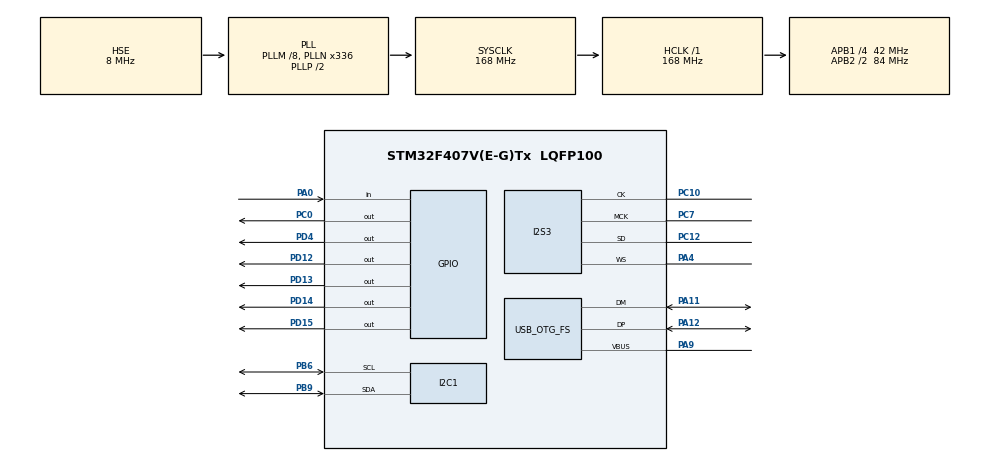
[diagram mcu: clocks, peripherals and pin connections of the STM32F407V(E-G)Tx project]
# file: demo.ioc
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Dma.Request0=SPI3_TX
Dma.SPI3_TX.0.Direction=DMA_MEMORY_TO_PERIPH
Dma.SPI3_TX.0.FIFOMode=DMA_FIFOMODE_ENABLE
Dma.SPI3_TX.0.FIFOThreshold=DMA_FIFO_THRESHOLD_FULL
Dma.SPI3_TX.0.Instance=DMA1_Stream5
Dma.SPI3_TX.0.MemBurst=DMA_MBURST_SINGLE
Dma.SPI3_TX.0.MemDataAlignment=DMA_MDATAALIGN_HALFWORD
Dma.SPI3_TX.0.MemInc=DMA_MINC_ENABLE
Dma.SPI3_TX.0.Mode=DMA_CIRCULAR
Dma.SPI3_TX.0.PeriphBurst=DMA_PBURST_SINGLE
Dma.SPI3_TX.0.PeriphDataAlignment=DMA_PDATAALIGN_HALFWORD
Dma.SPI3_TX.0.PeriphInc=DMA_PINC_DISABLE
Dma.SPI3_TX.0.Priority=DMA_PRIORITY_LOW
I2S3.AudioFreq=I2S_AUDIOFREQ_44K
I2S3.ErrorAudioFreq=0.24 %
I2S3.FullDuplexMode=I2S_FULLDUPLEXMODE_DISABLE
I2S3.Instance=SPI$Index
I2S3.RealAudioFreq=44.108 KHz
I2S3.VirtualMode=I2S_MODE_MASTER
Mcu.Family=STM32F4
Mcu.Name=STM32F407V(E-G)Tx
Mcu.Package=LQFP100
NVIC.DMA1_Stream5_IRQn=true\:0\:0\:false\:false\:true\:false\:true\:true
NVIC.OTG_FS_IRQn=true\:0\:0\:false\:false\:true\:false\:true\:true
NVIC.PriorityGroup=NVIC_PRIORITYGROUP_0
PA0-WKUP.Signal=GPIO_Input
PA11.Mode=Host_Only
PA11.Signal=USB_OTG_FS_DM
PA12.Mode=Host_Only
PA12.Signal=USB_OTG_FS_DP
PA4.Mode=Half_Duplex_Master
PA4.Signal=I2S3_WS
PA9.Mode=Activate_VBUS
PA9.Signal=USB_OTG_FS_VBUS
PB6.Mode=I2C
PB6.Signal=I2C1_SCL
PB9.Mode=I2C
PB9.Signal=I2C1_SDA
PC0.Signal=GPIO_Output
PC10.Mode=Half_Duplex_Master
PC10.Signal=I2S3_CK
PC12.Mode=Half_Duplex_Master
PC12.Signal=I2S3_SD
PC7.Mode=Master_Clock_Activated
PC7.Signal=I2S3_MCK
PD12.Signal=GPIO_Output
PD13.Signal=GPIO_Output
PD14.Signal=GPIO_Output
PD15.Signal=GPIO_Output
PD4.Signal=GPIO_Output
PH0-OSC_IN.Mode=HSE-External-Oscillator
PH0-OSC_IN.Signal=RCC_OSC_IN
PH1-OSC_OUT.Mode=HSE-External-Oscillator
PH1-OSC_OUT.Signal=RCC_OSC_OUT
ProjectManager.HeapSize=0x2000
ProjectManager.StackSize=0x2000
ProjectManager.TargetToolchain=STM32CubeIDE
RCC.48MHZClocksFreq_Value=48000000
RCC.AHBFreq_Value=168000000
RCC.APB1CLKDivider=RCC_HCLK_DIV4
RCC.APB1Freq_Value=42000000
RCC.APB1TimFreq_Value=84000000
RCC.APB2CLKDivider=RCC_HCLK_DIV2
RCC.APB2Freq_Value=84000000
RCC.APB2TimFreq_Value=168000000
RCC.CortexFreq_Value=168000000
RCC.HCLKFreq_Value=168000000
RCC.HSE_VALUE=8000000
RCC.HSI_VALUE=16000000
RCC.LSE_VALUE=32768
RCC.PLLI2SN=271
RCC.PLLI2SR=6
RCC.PLLM=8
RCC.PLLN=336
RCC.PLLQ=7
RCC.SYSCLKFreq_VALUE=168000000
RCC.SYSCLKSource=RCC_SYSCLKSOURCE_PLLCLK
RCC.VCOOutputFreq_Value=336000000
USB_HOST.USBH_HandleTypeDef-MSC_FS=hUsbHostFS
USB_HOST.VirtualModeFS=Msc
USB_OTG_FS.VirtualMode=Host_Only
USB_OTG_FS.phy_itface=HCD_PHY_EMBEDDED
VP_FATFS_VS_USB.Mode=USB
VP_USB_HOST_VS_USB_HOST_MSC_FS.Mode=MSC_FS
board=STM32F407G-DISC1

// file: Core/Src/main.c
/* USER CODE BEGIN Header */
/**
  ******************************************************************************
  * @file           : main.c
  * @brief          : Main program body
  ******************************************************************************
  * @attention
  *
  * <h2><center>&copy; Copyright (c) 2020 STMicroelectronics.
  * All rights reserved.</center></h2>
  *
  * This software component is licensed by ST under Ultimate Liberty license
  * SLA0044, the "License"; You may not use this file except in compliance with
  * the License. You may obtain a copy of the License at:
  *                             www.st.com/SLA0044
  *
  ******************************************************************************
  */
/* USER CODE END Header */

#include "main.h"
#include "fatfs.h"
#include "usb_host.h"

/* USER CODE BEGIN Includes */
#include "audioI2S.h"
#include "MY_CS43L22.h"
#include "wav_player.h"
/* USER CODE END Includes */

/* USER CODE BEGIN PTD */
extern ApplicationTypeDef Appli_state;
/* USER CODE END PTD */

I2C_HandleTypeDef hi2c1;

I2S_HandleTypeDef hi2s3;
DMA_HandleTypeDef hdma_spi3_tx;

/* USER CODE BEGIN PV */
#define WAV_FILE1 "/Song1.wav"
#define WAV_FILE2 "/Song2.wav"
#define WAV_FILE3 "/Song3.wav"
/* USER CODE END PV */

void SystemClock_Config(void);
static void MX_GPIO_Init(void);
static void MX_DMA_Init(void);
static void MX_I2C1_Init(void);
static void MX_I2S3_Init(void);
void MX_USB_HOST_Process(void);

int main(void)
{

  /* MCU Configuration--------------------------------------------------------*/

  /* Reset of all peripherals, Initializes the Flash interface and the Systick. */
  HAL_Init();

  /* Configure the system clock */
  SystemClock_Config();

  /* Initialize all configured peripherals */
  MX_GPIO_Init();
  MX_DMA_Init();
  MX_I2C1_Init();
  MX_I2S3_Init();
  MX_FATFS_Init();
  MX_USB_HOST_Init();
  /* USER CODE BEGIN 2 */
  CS43_Init(hi2c1, MODE_I2S);
  CS43_SetVolume(230);//0-255
  CS43_Enable_RightLeft(CS43_RIGHT_LEFT);

  audioI2S_setHandle(&hi2s3);

  bool isSdCardMounted=0;
  bool pauseResumeToggle=0;
  /* USER CODE END 2 */

  /* Infinite loop */
  while (1)
  {
    MX_USB_HOST_Process();

    /* USER CODE BEGIN 3 */
    if(Appli_state == APPLICATION_START)
    {
      HAL_GPIO_WritePin(GPIOD, GPIO_PIN_12, GPIO_PIN_SET);
    }
    else if(Appli_state == APPLICATION_DISCONNECT)
    {
      HAL_GPIO_WritePin(GPIOD, GPIO_PIN_12, GPIO_PIN_RESET);
      f_mount(NULL, (TCHAR const*)"", 0);
      isSdCardMounted = 0;
    }

    if(Appli_state == APPLICATION_READY)
    {
      if(!isSdCardMounted)
      {
        f_mount(&USBHFatFS, (const TCHAR*)USBHPath, 0);
        isSdCardMounted = 1;
      }
      if(HAL_GPIO_ReadPin(GPIOA, GPIO_PIN_0))
      {
        HAL_GPIO_WritePin(GPIOD, GPIO_PIN_13, GPIO_PIN_SET);
        HAL_Delay(1000);

        // Play the first song
        wavPlayer_fileSelect(WAV_FILE1);
        wavPlayer_play();

        while(!wavPlayer_isFinished())
        {
          wavPlayer_process();
          if(HAL_GPIO_ReadPin(GPIOA, GPIO_PIN_0))
          {
            pauseResumeToggle^=1;
            if(pauseResumeToggle)
            {
              HAL_GPIO_WritePin(GPIOD, GPIO_PIN_14, GPIO_PIN_SET);
              wavPlayer_pause();
              HAL_Delay(200);
            }
            else
            {
              HAL_GPIO_WritePin(GPIOD, GPIO_PIN_14, GPIO_PIN_RESET);
              HAL_Delay(1000);
              if(HAL_GPIO_ReadPin(GPIOA, GPIO_PIN_0))
              {
                wavPlayer_stop();
              }
              else
              {
                wavPlayer_resume();
              }
            }
          }
        }

        // Play the second song
        wavPlayer_fileSelect(WAV_FILE2);
        wavPlayer_play();

        while(!wavPlayer_isFinished())
        {
          wavPlayer_process();
          if(HAL_GPIO_ReadPin(GPIOA, GPIO_PIN_0))
          {
            pauseResumeToggle^=1;
            if(pauseResumeToggle)
            {
              HAL_GPIO_WritePin(GPIOD, GPIO_PIN_14, GPIO_PIN_SET);
              wavPlayer_pause();
              HAL_Delay(200);
            }
            else
            {
              HAL_GPIO_WritePin(GPIOD, GPIO_PIN_14, GPIO_PIN_RESET);
              HAL_Delay(1000);
              if(HAL_GPIO_ReadPin(GPIOA, GPIO_PIN_0))
              {
                wavPlayer_stop();
              }
              else
              {
                wavPlayer_resume();
              }
            }
          }
        }

        // Play the third song
       wavPlayer_fileSelect(WAV_FILE3);
        wavPlayer_play();

        while(!wavPlayer_isFinished())
        {
          wavPlayer_process();
          if(HAL_GPIO_ReadPin(GPIOA, GPIO_PIN_0))
          {
            pauseResumeToggle^=1;
            if(pauseResumeToggle)
            {
              HAL_GPIO_WritePin(GPIOD, GPIO_PIN_14, GPIO_PIN_SET);
              wavPlayer_pause();
              HAL_Delay(200);
            }
            else
            {
              HAL_GPIO_WritePin(GPIOD, GPIO_PIN_14, GPIO_PIN_RESET);
              HAL_Delay(1000);
              if(HAL_GPIO_ReadPin(GPIOA, GPIO_PIN_0))
              {
                wavPlayer_stop();
              }
              else
              {
                wavPlayer_resume();
              }
            }
          }
        }

        HAL_GPIO_WritePin(GPIOD, GPIO_PIN_13, GPIO_PIN_RESET);
        HAL_Delay(100);
      }
    }
  }
  /* USER CODE END 3 */
}

  /* USER CODE END 3 */

void SystemClock_Config(void)
{
  RCC_OscInitTypeDef RCC_OscInitStruct = {0};
  RCC_ClkInitTypeDef RCC_ClkInitStruct = {0};
  RCC_PeriphCLKInitTypeDef PeriphClkInitStruct = {0};

  /** Configure the main internal regulator output voltage
  */
  __HAL_RCC_PWR_CLK_ENABLE();
  __HAL_PWR_VOLTAGESCALING_CONFIG(PWR_REGULATOR_VOLTAGE_SCALE1);
  /** Initializes the CPU, AHB and APB busses clocks
  */
  RCC_OscInitStruct.OscillatorType = RCC_OSCILLATORTYPE_HSE;
  RCC_OscInitStruct.HSEState = RCC_HSE_ON;
  RCC_OscInitStruct.PLL.PLLState = RCC_PLL_ON;
  RCC_OscInitStruct.PLL.PLLSource = RCC_PLLSOURCE_HSE;
  RCC_OscInitStruct.PLL.PLLM = 8;
  RCC_OscInitStruct.PLL.PLLN = 336;
  RCC_OscInitStruct.PLL.PLLP = RCC_PLLP_DIV2;
  RCC_OscInitStruct.PLL.PLLQ = 7;
  if (HAL_RCC_OscConfig(&RCC_OscInitStruct) != HAL_OK)
  {
    Error_Handler();
  }
  /** Initializes the CPU, AHB and APB busses clocks
  */
  RCC_ClkInitStruct.ClockType = RCC_CLOCKTYPE_HCLK|RCC_CLOCKTYPE_SYSCLK
                              |RCC_CLOCKTYPE_PCLK1|RCC_CLOCKTYPE_PCLK2;
  RCC_ClkInitStruct.SYSCLKSource = RCC_SYSCLKSOURCE_PLLCLK;
  RCC_ClkInitStruct.AHBCLKDivider = RCC_SYSCLK_DIV1;
  RCC_ClkInitStruct.APB1CLKDivider = RCC_HCLK_DIV4;
  RCC_ClkInitStruct.APB2CLKDivider = RCC_HCLK_DIV2;

  if (HAL_RCC_ClockConfig(&RCC_ClkInitStruct, FLASH_LATENCY_5) != HAL_OK)
  {
    Error_Handler();
  }
  PeriphClkInitStruct.PeriphClockSelection = RCC_PERIPHCLK_I2S;
  PeriphClkInitStruct.PLLI2S.PLLI2SN = 271;
  PeriphClkInitStruct.PLLI2S.PLLI2SR = 6;
  if (HAL_RCCEx_PeriphCLKConfig(&PeriphClkInitStruct) != HAL_OK)
  {
    Error_Handler();
  }
}

static void MX_I2C1_Init(void)
{

  hi2c1.Instance = I2C1;
  hi2c1.Init.ClockSpeed = 100000;
  hi2c1.Init.DutyCycle = I2C_DUTYCYCLE_2;
  hi2c1.Init.OwnAddress1 = 0;
  hi2c1.Init.AddressingMode = I2C_ADDRESSINGMODE_7BIT;
  hi2c1.Init.DualAddressMode = I2C_DUALADDRESS_DISABLE;
  hi2c1.Init.OwnAddress2 = 0;
  hi2c1.Init.GeneralCallMode = I2C_GENERALCALL_DISABLE;
  hi2c1.Init.NoStretchMode = I2C_NOSTRETCH_DISABLE;
  if (HAL_I2C_Init(&hi2c1) != HAL_OK)
  {
    Error_Handler();
  }

}

static void MX_I2S3_Init(void)
{

  hi2s3.Instance = SPI3;
  hi2s3.Init.Mode = I2S_MODE_MASTER_TX;
  hi2s3.Init.Standard = I2S_STANDARD_PHILIPS;
  hi2s3.Init.DataFormat = I2S_DATAFORMAT_16B;
  hi2s3.Init.MCLKOutput = I2S_MCLKOUTPUT_ENABLE;
  hi2s3.Init.AudioFreq = I2S_AUDIOFREQ_44K;
  hi2s3.Init.CPOL = I2S_CPOL_LOW;
  hi2s3.Init.ClockSource = I2S_CLOCK_PLL;
  hi2s3.Init.FullDuplexMode = I2S_FULLDUPLEXMODE_DISABLE;
  if (HAL_I2S_Init(&hi2s3) != HAL_OK)
  {
    Error_Handler();
  }

}

static void MX_DMA_Init(void)
{

  /* DMA controller clock enable */
  __HAL_RCC_DMA1_CLK_ENABLE();

  /* DMA interrupt init */
  /* DMA1_Stream5_IRQn interrupt configuration */
  HAL_NVIC_SetPriority(DMA1_Stream5_IRQn, 0, 0);
  HAL_NVIC_EnableIRQ(DMA1_Stream5_IRQn);

}

static void MX_GPIO_Init(void)
{
  GPIO_InitTypeDef GPIO_InitStruct = {0};

  /* GPIO Ports Clock Enable */
  __HAL_RCC_GPIOH_CLK_ENABLE();
  __HAL_RCC_GPIOC_CLK_ENABLE();
  __HAL_RCC_GPIOA_CLK_ENABLE();
  __HAL_RCC_GPIOD_CLK_ENABLE();
  __HAL_RCC_GPIOB_CLK_ENABLE();

  /*Configure GPIO pin Output Level */
  HAL_GPIO_WritePin(GPIOC, GPIO_PIN_0, GPIO_PIN_RESET);

  /*Configure GPIO pin Output Level */
  HAL_GPIO_WritePin(GPIOD, GPIO_PIN_12|GPIO_PIN_13|GPIO_PIN_14|GPIO_PIN_15
                          |GPIO_PIN_4, GPIO_PIN_RESET);

  /*Configure GPIO pin : PC0 */
  GPIO_InitStruct.Pin = GPIO_PIN_0;
  GPIO_InitStruct.Mode = GPIO_MODE_OUTPUT_PP;
  GPIO_InitStruct.Pull = GPIO_NOPULL;
  GPIO_InitStruct.Speed = GPIO_SPEED_FREQ_LOW;
  HAL_GPIO_Init(GPIOC, &GPIO_InitStruct);

  /*Configure GPIO pin : PA0 */
  GPIO_InitStruct.Pin = GPIO_PIN_0;
  GPIO_InitStruct.Mode = GPIO_MODE_INPUT;
  GPIO_InitStruct.Pull = GPIO_NOPULL;
  HAL_GPIO_Init(GPIOA, &GPIO_InitStruct);

  /*Configure GPIO pins : PD12 PD13 PD14 PD15
                           PD4 */
  GPIO_InitStruct.Pin = GPIO_PIN_12|GPIO_PIN_13|GPIO_PIN_14|GPIO_PIN_15
                          |GPIO_PIN_4;
  GPIO_InitStruct.Mode = GPIO_MODE_OUTPUT_PP;
  GPIO_InitStruct.Pull = GPIO_NOPULL;
  GPIO_InitStruct.Speed = GPIO_SPEED_FREQ_LOW;
  HAL_GPIO_Init(GPIOD, &GPIO_InitStruct);

}

void Error_Handler(void)
{
}

/************************ (C) COPYRIGHT STMicroelectronics *****END OF FILE****/
